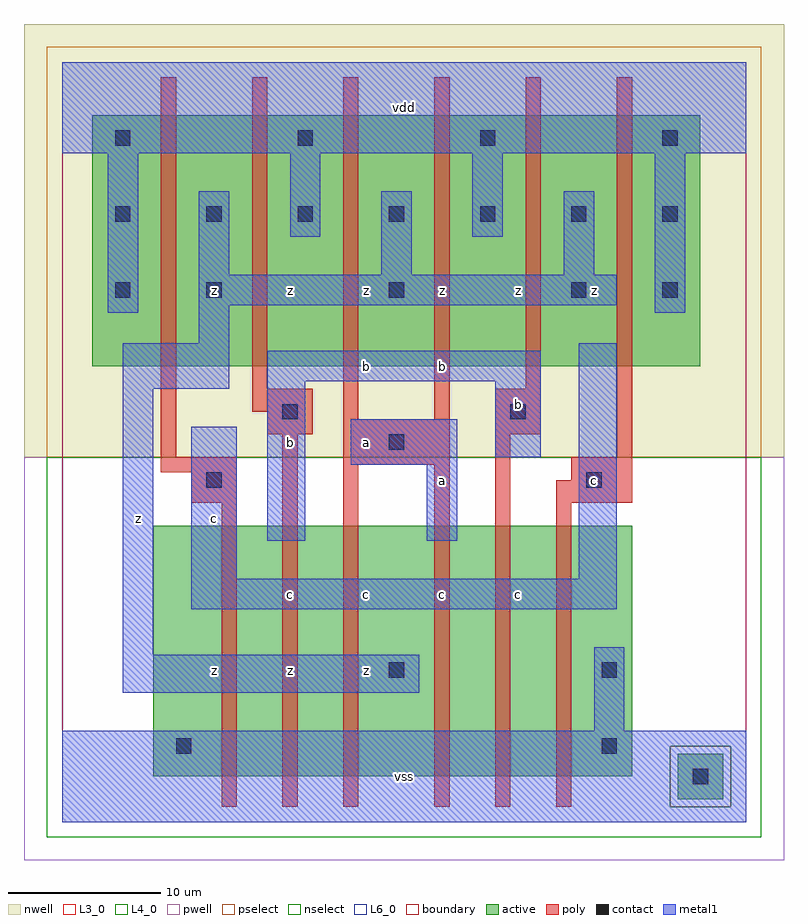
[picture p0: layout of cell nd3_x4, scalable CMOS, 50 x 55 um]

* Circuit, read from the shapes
.subckt nd3_x4 a b c vdd vss z
M1 n1 c vss vss nfet w=16.5u l=1u
M2 n2 b n1 vss nfet w=16.5u l=1u
M3 z a n2 vss nfet w=16.5u l=1u
M4 n3 a z vss nfet w=16.5u l=1u
M5 n4 b n3 vss nfet w=16.5u l=1u
M6 vss c n4 vss nfet w=16.5u l=1u
M7 z c vdd n5 pfet w=16.5u l=1u m=2
M8 vdd b z n5 pfet w=16.5u l=1u m=2
M9 z a vdd n5 pfet w=16.5u l=1u m=2
.ends

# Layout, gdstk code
import gdstk
lib = gdstk.Library(unit=1e-6, precision=1e-09)
def R(c, l, rs):  # rectangles x0, y0, x1, y1
    for r in rs: c.add(gdstk.rectangle(r[:2], r[2:], *l))
def A(c, l, x, y, w, h, nx, ny, dx, dy):  # array of equal rectangles
    R(c, l, [(x+i*dx, y+j*dy, x+i*dx+w, y+j*dy+h) for i in range(nx) for j in range(ny)])
L3_0 = (3, 0)
L4_0 = (4, 0)
L6_0 = (6, 0)
contact = (25, 0)
pwell = (41, 0)
nwell = (42, 0)
active = (43, 0)
pselect = (44, 0)
nselect = (45, 0)
poly = (46, 0)
metal1 = (49, 0)
boundary = (63, 0)

nd3_x4 = lib.new_cell('nd3_x4')
R(nd3_x4, L3_0, [(6,3,37.5,19.5)])
R(nd3_x4, L4_0, [(2,30,42,46.5)])
R(nd3_x4, L6_0, [(40.5,1.5,43.5,4.5)])
A(nd3_x4, contact, 9.5, 34.5, 1, 1, 3, 1, 12, 0)
A(nd3_x4, contact, 3.5, 39.5, 1, 1, 7, 1, 6, 0)
A(nd3_x4, contact, 3.5, 44.5, 1, 1, 4, 1, 12, 0)
R(nd3_x4, contact, [(41.5,2.5,42.5,3.5), (7.5,4.5,8.5,5.5), (35.5,4.5,36.5,5.5), (21.5,9.5,22.5,10.5), (35.5,9.5,36.5,10.5), (9.5,22,10.5,23), (34.5,22,35.5,23), (21.5,24.5,22.5,25.5), (14.5,26.5,15.5,27.5), (29.5,26.5,30.5,27.5), (3.5,34.5,4.5,35.5), (39.5,34.5,40.5,35.5)])
R(nd3_x4, pwell, [(-2.5,-2.5,47.5,24)])
R(nd3_x4, nwell, [(-2.5,24,47.5,52.5)])
R(nd3_x4, active, [(40.5,1.5,43.5,4.5), (6,3,37.5,19.5), (2,30,42,46.5)])
R(nd3_x4, pselect, [(40,1,44,5), (-1,24,46,51)])
R(nd3_x4, nselect, [(-1,-1,46,1), (-1,1,40,5), (44,1,46,5), (-1,5,46,24)])
R(nd3_x4, poly, [(10.5,1,11.5,21), (14.5,1,15.5,25.5), (18.5,1,19.5,23.5), (24.5,1,25.5,23.5), (28.5,1,29.5,25.5), (32.5,1,33.5,21), (8.5,21,11.5,23), (32.5,21,37.5,22.5), (33.5,22.5,37.5,24), (6.5,23,11.5,24), (18.5,23.5,25.5,26.5), (6.5,24,7.5,49), (36.5,24,37.5,49), (13.5,25.5,16.5,27), (28.5,25.5,31.5,28.5), (18.5,26.5,19.5,49), (24.5,26.5,25.5,49), (12.5,27,16.5,28.5), (12.5,28.5,13.5,49), (30.5,28.5,31.5,49)])
R(nd3_x4, metal1, [(0,0,45,6), (0,0,45,6), (35,6,37,11.5), (35,6,37,11.5), (4,8.5,23.5,11), (4,8.5,23.5,11), (4,11,6,28.5), (4,11,6,28.5), (8.5,14,36.5,16), (8.5,14,36.5,16), (8.5,16,11.5,26), (8.5,16,11.5,26), (34,16,36.5,31.5), (34,16,36.5,31.5), (13.5,18.5,16,29), (13.5,18.5,16,29), (24,18.5,26,23.5), (24,18.5,26,23.5), (19,23.5,26,26.5), (19,23.5,26,26.5), (28.5,24,31.5,29), (28.5,24,31.5,29), (4,28.5,11,31.5), (4,28.5,11,31.5), (13.5,29,31.5,31), (13.5,29,31.5,31), (9,31.5,11,34), (9,31.5,11,34), (3,33.5,5,44), (3,33.5,5,44), (39,33.5,41,44), (39,33.5,41,44), (9,34,36.5,36), (9,34,36.5,36), (9,36,11,41.5), (9,36,11,41.5), (21,36,23,41.5), (21,36,23,41.5), (33,36,35,41.5), (33,36,35,41.5), (15,38.5,17,44), (15,38.5,17,44), (27,38.5,29,44), (27,38.5,29,44), (0,44,45,50), (0,44,45,50)])
R(nd3_x4, boundary, [(0,0,45,50)])
nd3_x4.add(gdstk.Label('z', (5,20), layer=49, texttype=0))
nd3_x4.add(gdstk.Label('z', (15,10), layer=49, texttype=0))
nd3_x4.add(gdstk.Label('z', (10,10), layer=49, texttype=0))
nd3_x4.add(gdstk.Label('c', (15,15), layer=49, texttype=0))
nd3_x4.add(gdstk.Label('c', (10,20), layer=49, texttype=0))
nd3_x4.add(gdstk.Label('b', (15,25), layer=49, texttype=0))
nd3_x4.add(gdstk.Label('z', (10,35), layer=49, texttype=0))
nd3_x4.add(gdstk.Label('z', (15,35), layer=49, texttype=0))
nd3_x4.add(gdstk.Label('vss', (22.5,3), layer=49, texttype=0))
nd3_x4.add(gdstk.Label('z', (20,10), layer=49, texttype=0))
nd3_x4.add(gdstk.Label('c', (20,15), layer=49, texttype=0))
nd3_x4.add(gdstk.Label('c', (25,15), layer=49, texttype=0))
nd3_x4.add(gdstk.Label('a', (20,25), layer=49, texttype=0))
nd3_x4.add(gdstk.Label('a', (25,22.5), layer=49, texttype=0))
nd3_x4.add(gdstk.Label('b', (20,30), layer=49, texttype=0))
nd3_x4.add(gdstk.Label('b', (25,30), layer=49, texttype=0))
nd3_x4.add(gdstk.Label('z', (20,35), layer=49, texttype=0))
nd3_x4.add(gdstk.Label('z', (25,35), layer=49, texttype=0))
nd3_x4.add(gdstk.Label('vdd', (22.5,47), layer=49, texttype=0))
nd3_x4.add(gdstk.Label('c', (30,15), layer=49, texttype=0))
nd3_x4.add(gdstk.Label('c', (35,22.5), layer=49, texttype=0))
nd3_x4.add(gdstk.Label('b', (30,27.5), layer=49, texttype=0))
nd3_x4.add(gdstk.Label('z', (30,35), layer=49, texttype=0))
nd3_x4.add(gdstk.Label('z', (35,35), layer=49, texttype=0))

lib.write_gds('nd3_x4.gds')
